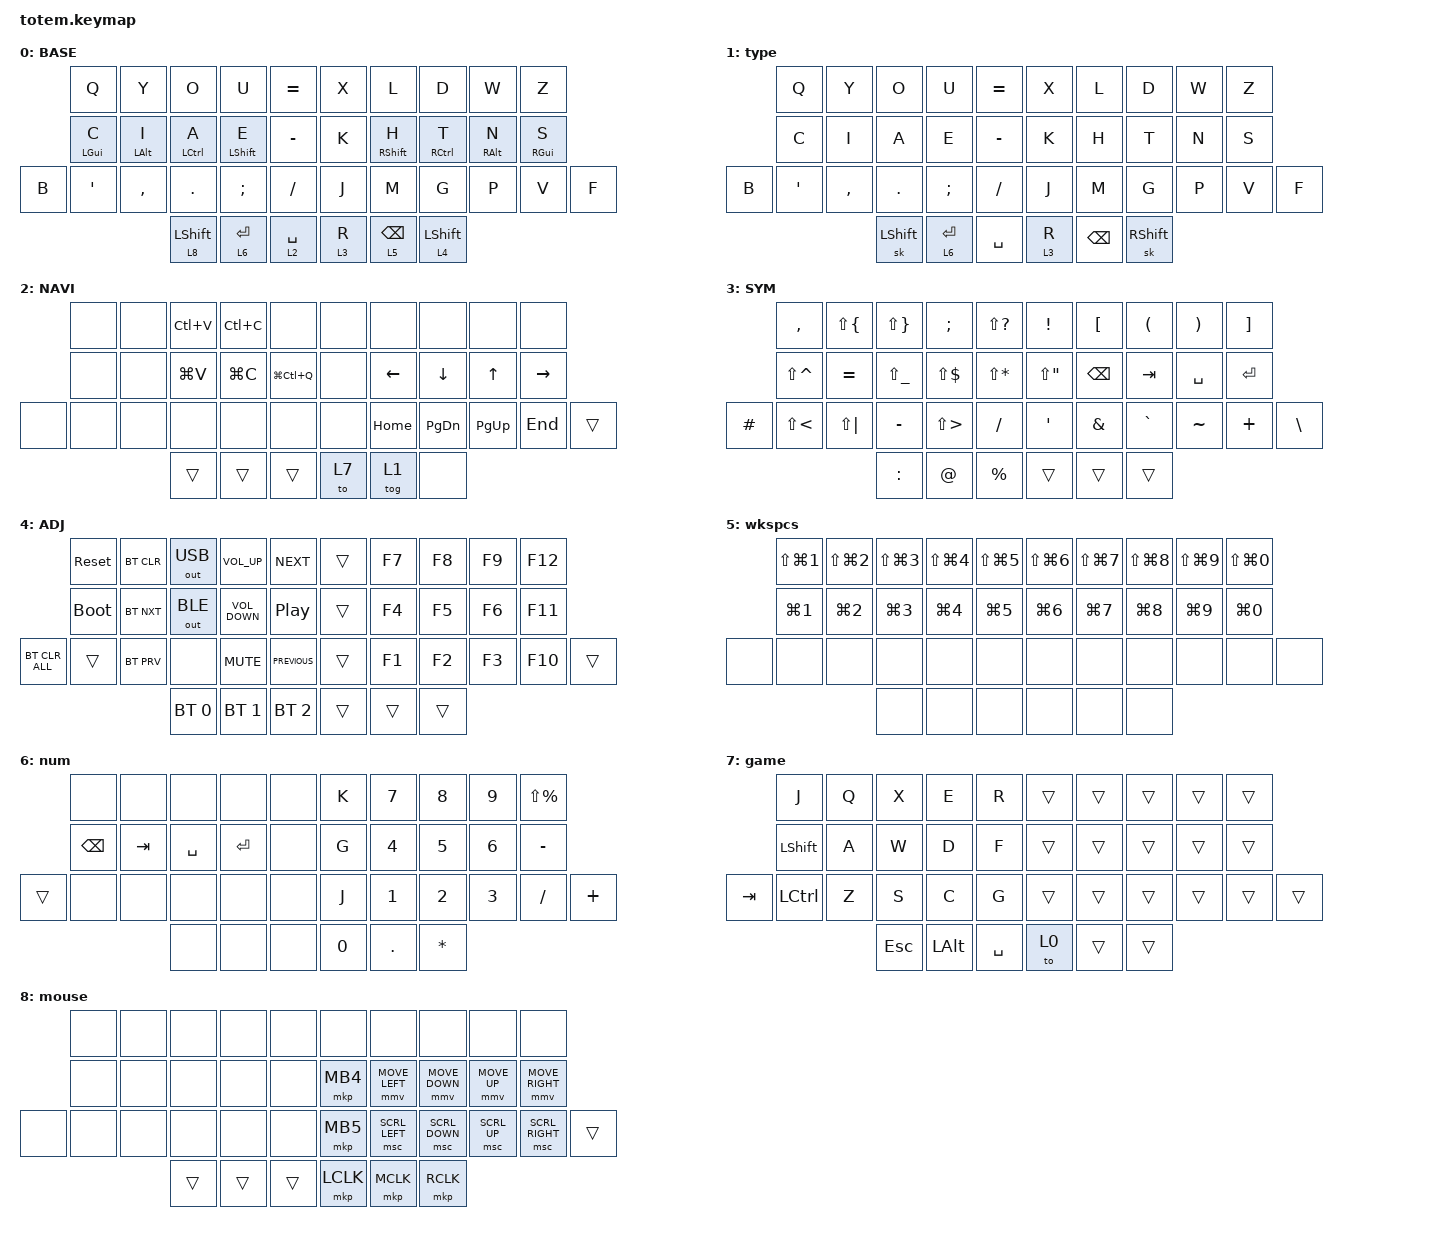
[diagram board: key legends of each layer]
//
//                                                        ▀▀▀▀▀     ▀▀▀▀▀          ▀▀█▀▀
//                                                        ▄▀▀▀▄  ▄  ▄▀▀▀▄  ▄  ▄▀▀▀▄  █  ▄▀▀▀▄
//                                                        █   █  █  █   █  █  █   █  █  █   █
//                                                         ▀▀▀   █   ▀▀▀   █   ▀▀▀   ▀   ▀▀▀
//                                                               █      ▄▄▄█▄▄▄    █   █  
//                                                               ▀      █  █  █     █▄█
//                                                             ▀▀▀▀▀    █  █  █      ▀
//                                                                      ▀  ▀  ▀
//
// ▄▄▄▄▄▄▄▄▄▄▄▄▄▄▄▄▄▄▄▄▄▄▄▄▄▄▄▄▄▄▄▄▄▄▄▄▄▄▄▄▄▄▄▄▄▄▄▄▄▄▄▄▄▄▄▄▄▄▄▄▄▄▄▄▄▄▄▄▄▄▄▄▄▄▄▄▄▄▄▄▄▄▄▄▄▄▄▄▄▄▄▄▄▄▄▄▄▄▄▄▄▄▄▄▄▄▄▄▄▄▄▄▄▄▄▄▄▄▄▄▄▄▄▄▄▄▄▄▄▄▄▄▄▄▄▄▄▄▄▄▄▄▄▄▄▄▄▄▄

#include <behaviors.dtsi>
#include <dt-bindings/zmk/bt.h>
#include <dt-bindings/zmk/keys.h>
#include <dt-bindings/zmk/outputs.h>
#include <dt-bindings/zmk/pointing.h>

#define BASE 0
#define NAV  1
#define SYM  2
#define ADJ  3
#define TVP1 4
#define TVP2 5

&mt {
    quick-tap-ms = <175>;
    global-quick-tap;
    flavor = "tap-preferred";
    tapping-term-ms = <175>;
};

&sk { quick-release; };

&lt { quick-tap-ms = <175>; };

/ {
    combos {
        compatible = "zmk,combos";

        to_base {
            bindings = <&to 0>;
            key-positions = <20 31>;
            layers = <2 3 4 5 6 7 1 8>;
            require-prior-idle-ms = <300>;
        };

        esc {
            bindings = <&kp ESCAPE>;
            key-positions = <4 14>;
            layers = <0 1>;
            timeout-ms = <100>;
        };

        caps_word {
            bindings = <&caps_word>;
            key-positions = <32 37>;
            layers = <0 1>;
        };

        tab {
            bindings = <&kp TAB>;
            key-positions = <5 15>;
            layers = <0 1>;
            timeout-ms = <100>;
        };
    };

    behaviors {
        hml: hml {
            compatible = "zmk,behavior-hold-tap";
            label = "HML";
            bindings = <&kp>, <&kp>;

            #binding-cells = <2>;
            tapping-term-ms = <300>;
            quick-tap-ms = <175>;
            require-prior-idle-ms = <100>;
            flavor = "balanced";
            hold-trigger-key-positions = <5 6 7 8 9 15 16 17 18 19 26 27 28 29 30 31 35 36 37>;
            hold-trigger-on-release;
        };

        hmr: hmr {
            compatible = "zmk,behavior-hold-tap";
            label = "HMR";
            bindings = <&kp>, <&kp>;

            #binding-cells = <2>;
            tapping-term-ms = <300>;
            quick-tap-ms = <175>;
            require-prior-idle-ms = <100>;
            flavor = "balanced";
            hold-trigger-key-positions = <0 1 3 4 10 11 12 13 14 20 21 22 23 24 25 32 33 34 2>;
            hold-trigger-on-release;
        };

        layer_sk: layer_sk {
            compatible = "zmk,behavior-hold-tap";
            label = "LAYER_SK";
            bindings = <&mo>, <&sk>;

            #binding-cells = <2>;
            tapping-term-ms = <175>;
            quick-tap-ms = <175>;
            flavor = "tap-preferred";
        };
    };

    keymap {
        compatible = "zmk,keymap";

        // ▄▄▄▄▄▄▄▄▄▄▄▄▄▄▄▄▄▄▄▄▄▄▄▄▄▄▄▄▄▄▄▄▄▄▄▄▄▄▄▄▄▄▄▄▄▄▄▄▄▄▄▄▄▄▄▄▄▄▄▄▄▄▄▄▄▄▄▄▄▄▄▄▄▄▄▄▄▄▄▄▄▄▄▄▄▄▄▄▄▄▄▄▄▄▄▄▄▄▄▄▄▄▄▄▄▄▄▄▄▄▄▄▄▄▄▄▄▄▄▄▄▄▄▄▄▄▄▄▄▄▄▄▄▄▄▄▄▄▄▄▄▄▄▄▄▄▄▄▄

        base_layer {
            // ┏━━━━━━━━━━━━━━━━━━━━━━━━━━━━━━━━━━━━━━━┓

            label = "BASE";

            // ┗━━━━━━━━━━━━━━━━━━━━━━━━━━━━━━━━━━━━━━━┛
            //             ┏━━━━━━━━━━━┳━━━━━━━━━━━┳━━━━━━━━━━━┳━━━━━━━━━━━┳━━━━━━━━━━━┓   ┏━━━━━━━━━━━┳━━━━━━━━━━━┳━━━━━━━━━━━┳━━━━━━━━━━━┳━━━━━━━━━━━┓
            //             ┃     Q     ┃     W     ┃     F     ┃     P     ┃     G     ┃   ┃     J     ┃     L     ┃     U     ┃     Y     ┃     ;     ┃
            //             ┣━━━━━━━━━━━╋━━━━━━━━━━━╋━━━━━━━━━━━╋━━━━━━━━━━━╋━━━━━━━━━━━┫   ┣━━━━━━━━━━━╋━━━━━━━━━━━╋━━━━━━━━━━━╋━━━━━━━━━━━╋━━━━━━━━━━━┫
            //             ┃     A     ┃     R     ┃     S     ┃     T     ┃     D     ┃   ┃     H     ┃     N     ┃     E     ┃     I     ┃     O     ┃
            // ┏━━━━━━━━━━━╋━━━━━━━━━━━╋━━━━━━━━━━━╋━━━━━━━━━━━╋━━━━━━━━━━━╋━━━━━━━━━━━┫   ┣━━━━━━━━━━━╋━━━━━━━━━━━╋━━━━━━━━━━━╋━━━━━━━━━━━╋━━━━━━━━━━━╋━━━━━━━━━━━┓
            // ┃     Q     ┃     Z     ┃     X     ┃     C     ┃     V     ┃     B     ┃   ┃     K     ┃     M     ┃     ,     ┃     .     ┃     /     ┃     \     ┃
            // ┗━━━━━━━━━━━┻━━━━━━━━━━━┻━━━━━━━━━━━╋━━━━━━━━━━━╋━━━━━━━━━━━╋━━━━━━━━━━━┫   ┣━━━━━━━━━━━╋━━━━━━━━━━━╋━━━━━━━━━━━╋━━━━━━━━━━━┻━━━━━━━━━━━┻━━━━━━━━━━━┛
            //                                     ┃    DEL    ┃    TAB    ┃    SPC    ┃   ┃   ENTER   ┃           ┃   BSPC    ┃
            //                                     ┗━━━━━━━━━━━┻━━━━━━━━━━━┻━━━━━━━━━━━┛   ┗━━━━━━━━━━━┻━━━━━━━━━━━┻━━━━━━━━━━━┛

            bindings = <
       &kp Q        &kp Y        &kp O                   &kp U         &kp EQUAL      &kp X    &kp L               &kp D                   &kp W             &kp Z
       &hml LGUI C  &hml LALT I  &hml LCTRL A            &hml LSHFT E  &kp MINUS      &kp K    &hmr RIGHT_SHIFT H  &hmr RCTRL T            &hmr RIGHT_ALT N  &hmr RIGHT_GUI S
&kp B  &kp SQT      &kp COMMA    &kp DOT                 &kp SEMI      &kp FSLH       &kp J    &kp M               &kp G                   &kp P             &kp V             &kp F
                                 &layer_sk 8 LEFT_SHIFT  &lt 6 ENTER   &lt 2 SPACE    &lt 3 R  &lt 5 BACKSPACE     &layer_sk 4 LEFT_SHIFT
            >;
        };

        type {
            label = "type";
            bindings = <
       &kp Q    &kp Y      &kp O           &kp U        &kp EQUAL    &kp X    &kp L          &kp D            &kp W  &kp Z
       &kp C    &kp I      &kp A           &kp E        &kp MINUS    &kp K    &kp H          &kp T            &kp N  &kp S
&kp B  &kp SQT  &kp COMMA  &kp DOT         &kp SEMI     &kp FSLH     &kp J    &kp M          &kp G            &kp P  &kp V  &kp F
                           &sk LEFT_SHIFT  &lt 6 ENTER  &kp SPACE    &lt 3 R  &kp BACKSPACE  &sk RIGHT_SHIFT
            >;
        };

        nav_layer {
            // ┏━━━━━━━━━━━━━━━━━━━━━━━━━━━━━━━━━━━━━━━┓

            label = "NAVI";

            // ┗━━━━━━━━━━━━━━━━━━━━━━━━━━━━━━━━━━━━━━━┛
            //             ┏━━━━━━━━━━━┳━━━━━━━━━━━┳━━━━━━━━━━━┳━━━━━━━━━━━┳━━━━━━━━━━━┓   ┏━━━━━━━━━━━┳━━━━━━━━━━━┳━━━━━━━━━━━┳━━━━━━━━━━━┳━━━━━━━━━━━┓
            //             ┃           ┃           ┃     UP    ┃           ┃     {     ┃   ┃     }     ┃     7     ┃     8     ┃     9     ┃     +     ┃
            //             ┣━━━━━━━━━━━╋━━━━━━━━━━━╋━━━━━━━━━━━╋━━━━━━━━━━━╋━━━━━━━━━━━┫   ┣━━━━━━━━━━━╋━━━━━━━━━━━╋━━━━━━━━━━━╋━━━━━━━━━━━╋━━━━━━━━━━━┫
            //             ┃   SHIFT   ┃   LEFT    ┃    DOWN   ┃   RIGHT   ┃     [     ┃   ┃     ]     ┃     4     ┃     5     ┃     6     ┃     -     ┃
            // ┏━━━━━━━━━━━╋━━━━━━━━━━━╋━━━━━━━━━━━╋━━━━━━━━━━━╋━━━━━━━━━━━╋━━━━━━━━━━━┫   ┣━━━━━━━━━━━╋━━━━━━━━━━━╋━━━━━━━━━━━╋━━━━━━━━━━━╋━━━━━━━━━━━╋━━━━━━━━━━━┓
            // ┃           ┃           ┃   P UP    ┃  C LOCK   ┃  P DOWN   ┃     (     ┃   ┃     )     ┃     1     ┃     2     ┃     3     ┃     *     ┃           ┃
            // ┗━━━━━━━━━━━┻━━━━━━━━━━━┻━━━━━━━━━━━╋━━━━━━━━━━━╋━━━━━━━━━━━╋━━━━━━━━━━━┫   ┣━━━━━━━━━━━╋━━━━━━━━━━━╋━━━━━━━━━━━╋━━━━━━━━━━━┻━━━━━━━━━━━┻━━━━━━━━━━━┛
            //                                     ┃           ┃    TAB    ┃    SPC    ┃   ┃    DEL    ┃     0     ┃           ┃
            //                                     ┗━━━━━━━━━━━┻━━━━━━━━━━━┻━━━━━━━━━━━┛   ┗━━━━━━━━━━━┻━━━━━━━━━━━┻━━━━━━━━━━━┛

            bindings = <
       &none  &none  &kp LC(V)  &kp LC(C)  &none            &none  &none     &none          &none        &none
       &none  &none  &kp LG(V)  &kp LG(C)  &kp LG(LC(Q))    &none  &kp LEFT  &kp DOWN       &kp UP       &kp RIGHT
&none  &none  &none  &none      &none      &none            &none  &kp HOME  &kp PAGE_DOWN  &kp PAGE_UP  &kp END    &trans
                     &trans     &trans     &trans           &to 7  &tog 1    &none
            >;
        };

        sim_layer {
            // ┏━━━━━━━━━━━━━━━━━━━━━━━━━━━━━━━━━━━━━━━┓

            label = "SYM";

            // ┗━━━━━━━━━━━━━━━━━━━━━━━━━━━━━━━━━━━━━━━┛
            //             ┏━━━━━━━━━━━┳━━━━━━━━━━━┳━━━━━━━━━━━┳━━━━━━━━━━━┳━━━━━━━━━━━┓   ┏━━━━━━━━━━━┳━━━━━━━━━━━┳━━━━━━━━━━━┳━━━━━━━━━━━┳━━━━━━━━━━━┓
            //             ┃     !     ┃     @     ┃     #     ┃     $     ┃     %     ┃   ┃     ˆ     ┃     &     ┃     Ü     ┃     '     ┃     "     ┃
            //             ┣━━━━━━━━━━━╋━━━━━━━━━━━╋━━━━━━━━━━━╋━━━━━━━━━━━╋━━━━━━━━━━━┫   ┣━━━━━━━━━━━╋━━━━━━━━━━━╋━━━━━━━━━━━╋━━━━━━━━━━━╋━━━━━━━━━━━┫
            //             ┃     Ä     ┃           ┃    SZ     ┃           ┃           ┃   ┃   MUTE    ┃   YEN     ┃   EURO    ┃  POUND    ┃     Ö     ┃
            // ┏━━━━━━━━━━━╋━━━━━━━━━━━╋━━━━━━━━━━━╋━━━━━━━━━━━╋━━━━━━━━━━━╋━━━━━━━━━━━┫   ┣━━━━━━━━━━━╋━━━━━━━━━━━╋━━━━━━━━━━━╋━━━━━━━━━━━╋━━━━━━━━━━━╋━━━━━━━━━━━┓
            // ┃           ┃  EMAIL1   ┃  EMAIL2   ┃           ┃           ┃           ┃   ┃   VOL-    ┃   VOL+    ┃   LAST    ┃   NEXT    ┃     \     ┃           ┃
            // ┗━━━━━━━━━━━┻━━━━━━━━━━━┻━━━━━━━━━━━╋━━━━━━━━━━━╋━━━━━━━━━━━╋━━━━━━━━━━━┫   ┣━━━━━━━━━━━╋━━━━━━━━━━━╋━━━━━━━━━━━╋━━━━━━━━━━━┻━━━━━━━━━━━┻━━━━━━━━━━━┛
            //                                     ┃           ┃    GIF    ┃    ADJ    ┃   ┃           ┃           ┃           ┃
            //                                     ┗━━━━━━━━━━━┻━━━━━━━━━━━┻━━━━━━━━━━━┛   ┗━━━━━━━━━━━┻━━━━━━━━━━━┻━━━━━━━━━━━┛

            bindings = <
           &kp COMMA      &kp LS(LBRC)  &kp LS(RIGHT_BRACE)  &kp SEMI      &kp LS(QMARK)    &kp EXCL     &kp LEFT_BRACKET  &kp LEFT_PARENTHESIS  &kp RIGHT_PARENTHESIS  &kp RIGHT_BRACKET
           &kp LS(CARET)  &kp EQUAL     &kp LS(UNDER)        &kp LS(DLLR)  &kp LS(STAR)     &kp LS(DQT)  &kp BACKSPACE     &kp TAB               &kp SPACE              &kp ENTER
&kp POUND  &kp LS(LT)     &kp LS(PIPE)  &kp MINUS            &kp LS(GT)    &kp FSLH         &kp SQT      &kp AMPS          &kp GRAVE             &kp TILDE              &kp PLUS           &kp BACKSLASH
                                        &kp COLON            &kp AT_SIGN   &kp PERCENT      &trans       &trans            &trans
            >;
        };

        adjust_layer {
            // ┏━━━━━━━━━━━━━━━━━━━━━━━━━━━━━━━━━━━━━━━┓

            label = "ADJ";

            // ┗━━━━━━━━━━━━━━━━━━━━━━━━━━━━━━━━━━━━━━━┛
            //             ┏━━━━━━━━━━━┳━━━━━━━━━━━┳━━━━━━━━━━━┳━━━━━━━━━━━┳━━━━━━━━━━━┓   ┏━━━━━━━━━━━┳━━━━━━━━━━━┳━━━━━━━━━━━┳━━━━━━━━━━━┳━━━━━━━━━━━┓
            //             ┃   RESET   ┃ BT CLEAR  ┃  OUT TOG  ┃           ┃           ┃   ┃           ┃    F7     ┃    F8     ┃    F9     ┃    F12    ┃
            //             ┣━━━━━━━━━━━╋━━━━━━━━━━━╋━━━━━━━━━━━╋━━━━━━━━━━━╋━━━━━━━━━━━┫   ┣━━━━━━━━━━━╋━━━━━━━━━━━╋━━━━━━━━━━━╋━━━━━━━━━━━╋━━━━━━━━━━━┫
            //             ┃ BOOTLOAD  ┃ BT NEXT   ┃           ┃           ┃           ┃   ┃           ┃    F4     ┃    F5     ┃    F6     ┃    F11    ┃
            // ┏━━━━━━━━━━━╋━━━━━━━━━━━╋━━━━━━━━━━━╋━━━━━━━━━━━╋━━━━━━━━━━━╋━━━━━━━━━━━┫   ┣━━━━━━━━━━━╋━━━━━━━━━━━╋━━━━━━━━━━━╋━━━━━━━━━━━╋━━━━━━━━━━━╋━━━━━━━━━━━┓
            // ┃           ┃           ┃ BT PREV   ┃           ┃           ┃           ┃   ┃           ┃    F1     ┃    F2     ┃    F3     ┃    F10    ┃           ┃
            // ┗━━━━━━━━━━━┻━━━━━━━━━━━┻━━━━━━━━━━━╋━━━━━━━━━━━╋━━━━━━━━━━━╋━━━━━━━━━━━┫   ┣━━━━━━━━━━━╋━━━━━━━━━━━╋━━━━━━━━━━━╋━━━━━━━━━━━┻━━━━━━━━━━━┻━━━━━━━━━━━┛
            //                                     ┃           ┃           ┃           ┃   ┃           ┃           ┃           ┃
            //                                     ┗━━━━━━━━━━━┻━━━━━━━━━━━┻━━━━━━━━━━━┛   ┗━━━━━━━━━━━┻━━━━━━━━━━━┻━━━━━━━━━━━┛

            bindings = <
                &sys_reset   &bt BT_CLR  &out OUT_USB  &kp C_VOLUME_UP    &kp C_NEXT          &trans  &kp F7  &kp F8  &kp F9  &kp F12
                &bootloader  &bt BT_NXT  &out OUT_BLE  &kp C_VOLUME_DOWN  &kp C_PLAY_PAUSE    &trans  &kp F4  &kp F5  &kp F6  &kp F11
&bt BT_CLR_ALL  &trans       &bt BT_PRV  &none         &kp C_MUTE         &kp C_PREVIOUS      &trans  &kp F1  &kp F2  &kp F3  &kp F10  &trans
                                         &bt BT_SEL 0  &bt BT_SEL 1       &bt BT_SEL 2        &trans  &trans  &trans
            >;
        };

        wkspcs {
            // ┏━━━━━━━━━━━━━━━━━━━━━━━━━━━━━━━━━━━━━━━┓

            label = "wkspcs";

            // ┗━━━━━━━━━━━━━━━━━━━━━━━━━━━━━━━━━━━━━━━┛
            //             ┏━━━━━━━━━━━┳━━━━━━━━━━━┳━━━━━━━━━━━┳━━━━━━━━━━━┳━━━━━━━━━━━┓   ┏━━━━━━━━━━━┳━━━━━━━━━━━┳━━━━━━━━━━━┳━━━━━━━━━━━┳━━━━━━━━━━━┓
            //             ┃ NEXT FILE ┃ MARK IN   ┃ ROTATE    ┃ MARK OUT  ┃ SHOW SNAP ┃   ┃           ┃           ┃           ┃           ┃           ┃
            //             ┣━━━━━━━━━━━╋━━━━━━━━━━━╋━━━━━━━━━━━╋━━━━━━━━━━━╋━━━━━━━━━━━┫   ┣━━━━━━━━━━━╋━━━━━━━━━━━╋━━━━━━━━━━━╋━━━━━━━━━━━╋━━━━━━━━━━━┫
            //             ┃ TVP II    ┃ LEFT      ┃ PAN       ┃ RIGHT     ┃ PLAY/FLIP ┃   ┃           ┃           ┃           ┃           ┃           ┃
            // ┏━━━━━━━━━━━╋━━━━━━━━━━━╋━━━━━━━━━━━╋━━━━━━━━━━━╋━━━━━━━━━━━╋━━━━━━━━━━━┫   ┣━━━━━━━━━━━╋━━━━━━━━━━━╋━━━━━━━━━━━╋━━━━━━━━━━━╋━━━━━━━━━━━╋━━━━━━━━━━━┓
            // ┃ FULLSCR   ┃ SHIFT     ┃ COPY      ┃ DELETE    ┃ PASTE     ┃ IMG MARK  ┃   ┃           ┃           ┃           ┃           ┃           ┃           ┃
            // ┗━━━━━━━━━━━┻━━━━━━━━━━━┻━━━━━━━━━━━╋━━━━━━━━━━━╋━━━━━━━━━━━╋━━━━━━━━━━━┫   ┣━━━━━━━━━━━╋━━━━━━━━━━━╋━━━━━━━━━━━╋━━━━━━━━━━━┻━━━━━━━━━━━┻━━━━━━━━━━━┛
            //                                     ┃           ┃ UNDO/SAVE ┃  SEL/MOV  ┃   ┃           ┃           ┃           ┃
            //                                     ┗━━━━━━━━━━━┻━━━━━━━━━━━┻━━━━━━━━━━━┛   ┗━━━━━━━━━━━┻━━━━━━━━━━━┻━━━━━━━━━━━┛

            bindings = <
       &kp LS(LG(N1))  &kp LS(LG(N2))  &kp LS(LG(N3))  &kp LS(LG(N4))  &kp LS(LG(N5))    &kp LS(LG(N6))  &kp LS(LG(N7))  &kp LS(LG(N8))  &kp LS(LG(N9))  &kp LS(LG(N0))
       &kp LG(N1)      &kp LG(N2)      &kp LG(N3)      &kp LG(N4)      &kp LG(N5)        &kp LG(N6)      &kp LG(N7)      &kp LG(N8)      &kp LG(N9)      &kp LG(N0)
&none  &none           &none           &none           &none           &none             &none           &none           &none           &none           &none           &none
                                       &none           &none           &none             &none           &none           &none
            >;
        };

        num {
            // ┏━━━━━━━━━━━━━━━━━━━━━━━━━━━━━━━━━━━━━━━┓

            label = "num";

            // ┗━━━━━━━━━━━━━━━━━━━━━━━━━━━━━━━━━━━━━━━┛
            //             ┏━━━━━━━━━━━┳━━━━━━━━━━━┳━━━━━━━━━━━┳━━━━━━━━━━━┳━━━━━━━━━━━┓   ┏━━━━━━━━━━━┳━━━━━━━━━━━┳━━━━━━━━━━━┳━━━━━━━━━━━┳━━━━━━━━━━━┓
            //             ┃ SOLO      ┃ TOGGLE IN ┃ RESET ROT ┃ TOGGLE OUT┃ TAKE SNAP ┃   ┃           ┃           ┃           ┃           ┃           ┃
            //             ┣━━━━━━━━━━━╋━━━━━━━━━━━╋━━━━━━━━━━━╋━━━━━━━━━━━╋━━━━━━━━━━━┫   ┣━━━━━━━━━━━╋━━━━━━━━━━━╋━━━━━━━━━━━╋━━━━━━━━━━━╋━━━━━━━━━━━┫
            //             ┃ ---       ┃ LAST KEY  ┃ NEW KEY   ┃ NEXT KEY  ┃ ENTER     ┃   ┃           ┃           ┃           ┃           ┃           ┃
            // ┏━━━━━━━━━━━╋━━━━━━━━━━━╋━━━━━━━━━━━╋━━━━━━━━━━━╋━━━━━━━━━━━╋━━━━━━━━━━━┫   ┣━━━━━━━━━━━╋━━━━━━━━━━━╋━━━━━━━━━━━╋━━━━━━━━━━━╋━━━━━━━━━━━╋━━━━━━━━━━━┓
            // ┃           ┃ FULLSCR   ┃ CPY2BRUSH ┃ DEL HEAD  ┃ PSTinPLACE┃ BOOK MARK ┃   ┃           ┃           ┃           ┃           ┃           ┃           ┃
            // ┗━━━━━━━━━━━┻━━━━━━━━━━━┻━━━━━━━━━━━╋━━━━━━━━━━━╋━━━━━━━━━━━╋━━━━━━━━━━━┫   ┣━━━━━━━━━━━╋━━━━━━━━━━━╋━━━━━━━━━━━╋━━━━━━━━━━━┻━━━━━━━━━━━┻━━━━━━━━━━━┛
            //                                     ┃           ┃ REDO/SAV1 ┃TRANS/WARP ┃   ┃           ┃           ┃           ┃
            //                                     ┗━━━━━━━━━━━┻━━━━━━━━━━━┻━━━━━━━━━━━┛   ┗━━━━━━━━━━━┻━━━━━━━━━━━┻━━━━━━━━━━━┛

            bindings = <
        &none     &none    &none      &none    &none    &kp K   &kp N7      &kp N8        &kp N9  &kp LS(PRCNT)
        &kp BSPC  &kp TAB  &kp SPACE  &kp RET  &none    &kp G   &kp N4      &kp N5        &kp N6  &kp MINUS
&trans  &none     &none    &none      &none    &none    &kp J   &kp N1      &kp N2        &kp N3  &kp FSLH       &kp PLUS
                           &none      &none    &none    &kp N0  &kp PERIOD  &kp ASTERISK
            >;
        };

        game {
            bindings = <
         &kp J      &kp Q  &kp X    &kp E         &kp R        &trans  &trans  &trans  &trans  &trans
         &kp LSHFT  &kp A  &kp W    &kp D         &kp F        &trans  &trans  &trans  &trans  &trans
&kp TAB  &kp LCTRL  &kp Z  &kp S    &kp C         &kp G        &trans  &trans  &trans  &trans  &trans  &trans
                           &kp ESC  &kp LEFT_ALT  &kp SPACE    &to 0   &trans  &trans
            >;
        };

        mouse {
            label = "mouse";
            bindings = <
       &none  &none  &none   &none   &none     &none      &none           &none           &none         &none
       &none  &none  &none   &none   &none     &mkp MB4   &mmv MOVE_LEFT  &mmv MOVE_DOWN  &mmv MOVE_UP  &mmv MOVE_RIGHT
&none  &none  &none  &none   &none   &none     &mkp MB5   &msc SCRL_LEFT  &msc SCRL_DOWN  &msc SCRL_UP  &msc SCRL_RIGHT  &trans
                     &trans  &trans  &trans    &mkp LCLK  &mkp MCLK       &mkp RCLK
            >;
        };
    };
};
